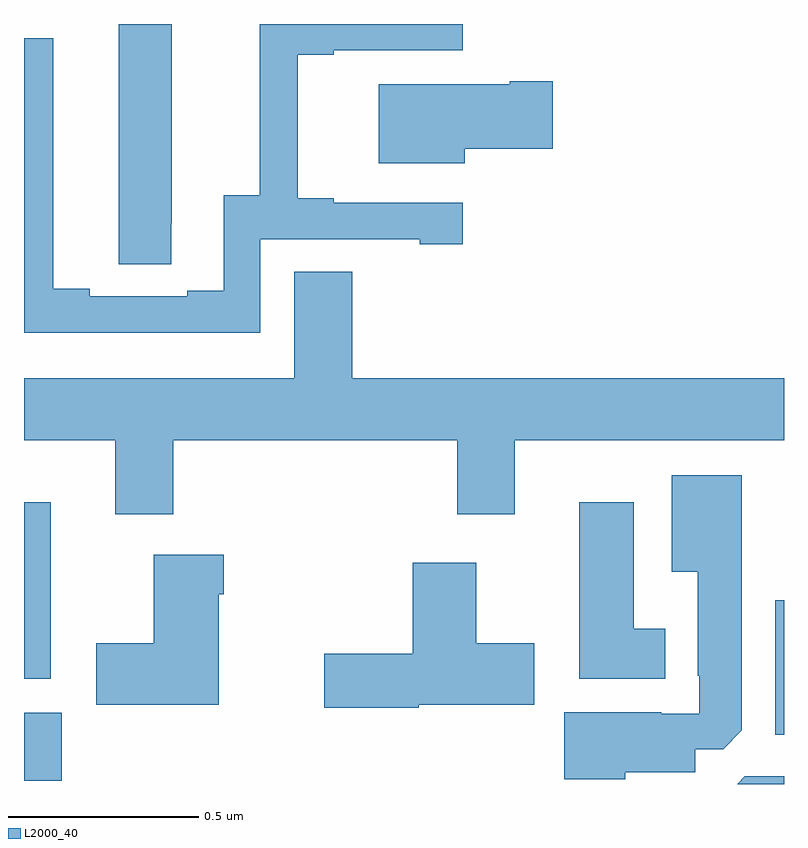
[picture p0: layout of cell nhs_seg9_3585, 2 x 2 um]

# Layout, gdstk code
import gdstk
lib = gdstk.Library(unit=1e-6, precision=1e-09)
def R(c, l, rs):  # rectangles x0, y0, x1, y1
    for r in rs: c.add(gdstk.rectangle(r[:2], r[2:], *l))
def P(c, l, *ps):  # polygons
    for p in ps: c.add(gdstk.Polygon(p, *l))
L2000_40 = (2000, 40)

nhs_seg9_3585 = lib.new_cell('nhs_seg9_3585')
R(nhs_seg9_3585, L2000_40, [(155,1211.509,155.099,1211.688), (156.977,1211.63,157,1211.983), (155,1211.777,155.071,1212.241)])
P(nhs_seg9_3585, L2000_40, [(155.388,1212.976),(155.389,1212.976),(155.389,1213.5),(155.249,1213.5),(155.249,1212.868),(155.388,1212.868)],
  [(155.622,1212.933),(156.041,1212.933),(156.041,1212.921),(156.154,1212.921),(156.154,1213.029),(155.815,1213.029),(155.815,1213.042),(155.72,1213.042),(155.72,1213.419),(155.815,1213.419),(155.815,1213.431),(156.154,1213.431),(156.154,1213.5),(155.62,1213.5),(155.62,1213.049),(155.525,1213.049),(155.525,1212.798),(155.429,1212.798),(155.429,1212.783),(155.173,1212.783),(155.173,1212.803),(155.077,1212.803),(155.077,1213.463),(155,1213.463),(155,1212.687),(155.622,1212.687)],
  [(156.16,1213.172),(156.391,1213.172),(156.391,1213.35),(156.278,1213.35),(156.278,1213.342),(155.933,1213.342),(155.933,1213.133),(156.16,1213.133)],
  [(155.393,1212.404),(156.14,1212.404),(156.14,1212.21),(156.292,1212.21),(156.292,1212.404),(157,1212.404),(157,1212.568),(155.864,1212.568),(155.864,1212.848),(155.711,1212.848),(155.711,1212.568),(155,1212.568),(155,1212.404),(155.24,1212.404),(155.24,1212.21),(155.393,1212.21)],
  [(156.582,1211.531),(156.766,1211.531),(156.766,1211.592),(156.84,1211.592),(156.889,1211.641),(156.889,1212.313),(156.704,1212.313),(156.704,1212.059),(156.773,1212.059),(156.773,1211.785),(156.777,1211.785),(156.777,1211.685),(156.677,1211.685),(156.677,1211.689),(156.422,1211.689),(156.422,1211.513),(156.582,1211.513)],
  [(156.688,1211.908),(156.604,1211.908),(156.604,1212.241),(156.461,1212.241),(156.461,1211.777),(156.688,1211.777)],
  [(155.512,1211.999),(155.525,1211.999),(155.525,1212.103),(155.342,1212.103),(155.342,1211.871),(155.19,1211.871),(155.19,1211.708),(155.512,1211.708)],
  [(156.039,1211.708),(156.343,1211.708),(156.343,1211.871),(156.19,1211.871),(156.19,1212.082),(156.023,1212.082),(156.023,1211.843),(155.79,1211.843),(155.79,1211.701),(156.039,1211.701)],
  [(157,1211.52),(156.897,1211.52),(156.877,1211.5),(157,1211.5)])

lib.write_gds('nhs_seg9_3585.gds')
